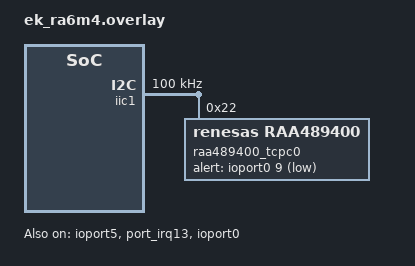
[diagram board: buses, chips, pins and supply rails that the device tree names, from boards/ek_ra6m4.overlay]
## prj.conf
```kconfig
CONFIG_USBC_STACK=y
CONFIG_USBC_TCPC_DRIVER=y
CONFIG_USBC_CSM_SINK_ONLY=y
CONFIG_USBC_THREAD_PRIORITY=10
CONFIG_ADC=y

CONFIG_LOG=y
# CONFIG_LOG_MODE_IMMEDIATE=y
# CONFIG_USBC_LOG_LEVEL_DBG=y
# CONFIG_USBC_STACK_LOG_LEVEL_DBG=y
# CONFIG_I2C_LOG_LEVEL_DBG=y
# CONFIG_LOG_MAX_LEVEL=4
# CONFIG_I2C_LOG_LEVEL_DBG=y
# CONFIG_LOG_BUFFER_SIZE=32768

CONFIG_BUILD_OUTPUT_VIF=y

CONFIG_DEBUG=y
CONFIG_DEBUG_OPTIMIZATIONS=y
# CONFIG_NO_OPTIMIZATIONS=y
CONFIG_DEBUG_THREAD_INFO=y
CONFIG_EXCEPTION_STACK_TRACE=y

CONFIG_USBC_TCPC_INIT_PRIORITY=60

CONFIG_RENESAS_RA_EXTERNAL_INTERRUPT=y
CONFIG_GPIO=y

CONFIG_MAIN_STACK_SIZE=4096
# CONFIG_SYSTEM_WORKQUEUE_STACK_SIZE=2048
CONFIG_SYSTEM_WORKQUEUE_STACK_SIZE=8192
CONFIG_ISR_STACK_SIZE=2048

CONFIG_HW_STACK_PROTECTION=y
CONFIG_THREAD_STACK_INFO=y


CONFIG_THREAD_NAME=y
# CONFIG_THREAD_ANALYZER=y
# CONFIG_THREAD_ANALYZER_AUTO=y
# CONFIG_THREAD_ANALYZER_RUN_INTERVAL_SECONDS=2
CONFIG_EXCEPTION_STACK_TRACE=n
# CONFIG_THREAD_ANALYZER_STACK_SIZE=2048
```

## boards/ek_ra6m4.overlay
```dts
/*
 * Copyright (c) 2024 Renesas Electronics Corporation
 * SPDX-License-Identifier: Apache-2.0
 *
 * Board overlay for EK-RA6M4 + RAA489400 TCPC (USB-C sink)
 *
 * Place this file at:
 *   samples/subsys/usb_c/sink/boards/ek_ra6m4.overlay
 *
 * ── VBUS measurement note ───────────────────────────────────────
 *  VBUS voltage is read over I2C from the RAA489400's own ADC
 *  (VBUS_VOLTAGE register 0x70) using the generic
 *  "zephyr,usb-c-vbus-tcpci" driver, declared as a child node of
 *  the TCPC. NO SoC ADC or resistor divider is used, so the adc0
 *  node and the P000/AN000 divider are gone.
 *
 *  IMPORTANT: the RAA489400 driver must clear POWER_CONTROL (0x1C)
 *  bit6 (VBUS_VOLTAGE Monitor) during init — it defaults to 1b
 *  (monitoring disabled), which makes VBUS_VOLTAGE read 0x0000.
 *  The updated raa489400.c does this in raa489400_init().
 *
 * ── Hardware connections on EK-RA6M4 ────────────────────────────
 *  RAA489400 pin     EK-RA6M4 pin   Notes
 *  ───────────────   ────────────   ────────────────────────────────
 *  SCL  (pin 28)     P512 (SCL1)    IIC1 SCL, open-drain + ext 4.7kΩ
 *  SDA  (pin 29)     P511 (SDA1)    IIC1 SDA, open-drain + ext 4.7kΩ
 *  ALERT# (pin 31)   P009 (IRQ13)   Active-low, ext 10kΩ to VDD33
 *                                   Arduino J23-3 (D2/INT0)
 *  VSYS33 (pin 12)   3.3V rail
 *  VCONN_POWER(30)   5V rail        Required for VCONN MUX
 *  VBUS  (pin 14)    USB-C VBUS     (sensed internally by the TCPC)
 *  VSNK_GATE (18)    N-FET gate     External sink path MOSFET
 *  VSNK_SRC  (19)    N-FET source   External sink path MOSFET
 *  PROG  (pin 10)    1.0 kΩ to GND  → I2C address 0x22 (Table 1, datasheet)
 *  GND   (pin 24)    GND
 *
 *  IIC1 (P511/P512) is exposed on the EK-RA6M4 Arduino I2C header
 *  (J24-9 SDA / J24-10 SCL), Grove 1 (J27), Qwiic (J30), and mikroBUS
 *  (J22) connectors, so it is directly accessible for wiring to the
 *  RAA489400. IIC0 (P400/P401) is committed to the on-board Ethernet
 *  PHY (MDC/MDIO) via default trace-cut jumpers E24/E25 and is not
 *  broken out for general use, which is why we move to IIC1.
 *
 * ── Key facts from ra6-cm33-common.dtsi ─────────────────────────
 *  iic0 @ 0x4009f000   compatible = "renesas,ra-iic"   (no fixed irqs)
 *  iic1 @ 0x4009f100   compatible = "renesas,ra-iic"
 *
 * ── IMPORTANT: IIC interrupt note ───────────────────────────────
 *  The RA6M4 uses a flexible interrupt matrix (ICU). IIC interrupts
 *  are NOT fixed — they are assigned at build time in the ek_ra6m4
 *  pinctrl/board DTS. Check your actual build/zephyr/zephyr.dts to
 *  confirm the interrupt numbers assigned to iic1 before programming.
 *  The values below (32–35) follow the ek_ra6m4 board DTS convention;
 *  adjust if your build assigns different IRQ numbers:
 *      grep -A6 "iic1" build/zephyr/zephyr.dts
 *
 * ── Build command ────────────────────────────────────────────────
 *  west build -p always -b ek_ra6m4 samples/subsys/usb_c/sink
 * ─────────────────────────────────────────────────────────────────
 */

#include <zephyr/dt-bindings/gpio/gpio.h>
#include <zephyr/dt-bindings/i2c/i2c.h>
#include <zephyr/dt-bindings/usb-c/pd.h>

/* ================================================================
 * 1. Pin control — IIC1 default state
 *    P512 (port 5, pin 12) = SCL    RA_PSEL_I2C function
 *    P511 (port 5, pin 11) = SDA    RA_PSEL_I2C function
 *    Both must be open-drain for I2C.
 * ================================================================ */
&pinctrl {
	iic1_default: iic1_default {
		group1 {
			psels = <RA_PSEL(RA_PSEL_I2C, 5, 12)>,  /* P512 = SCL1 */
				<RA_PSEL(RA_PSEL_I2C, 5, 11)>;   /* P511 = SDA1 */
			drive-open-drain;
		};
	};
};

/* ================================================================
 * 2. IIC1 — enable and attach RAA489400
 *
 *    From ra6-cm33-common.dtsi:
 *      iic1 @ 0x4009f100, compatible = "renesas,ra-iic", channel = <1>
 *      clocks = <&pclkb MSTPB 8>
 *
 *    Interrupt numbers are flexible on RA6M4 (ICU matrix).
 *    Verify the assignments in your build with:
 *      grep -A6 "iic1" build/zephyr/zephyr.dts
 * ================================================================ */
&iic1 {
	status = "okay";
	pinctrl-0 = <&iic1_default>;
	pinctrl-names = "default";
	/*clock-frequency = <I2C_BITRATE_FAST>;    400 kHz */
	clock-frequency = <I2C_BITRATE_STANDARD>;   /* 100 kHz */  
	#address-cells = <1>;
	#size-cells = <0>;
	interrupts = <43 1>, <44 1>, <45 1>, <46 1>;
	interrupt-names = "rxi", "txi", "tei", "eri";

	/* ── RAA489400 TCPC at I2C address 0x22 ─────────────────────
	 * PROG pin = 1.0 kΩ to GND → address 0x22 (Table 1, datasheet)
	 * ALERT# = P009 (ioport0, pin 9), active-low open-drain.
	 *   P009 is IRQ13-capable and exposed on the Arduino digital
	 *   header at J23-3 (D2/INT0). It carries no default on-board
	 *   function, so it is free for use as the TCPC ALERT# input.
	 * ─────────────────────────────────────────────────────────── */
	raa489400_tcpc0: raa489400@22 {
		compatible = "renesas,raa489400";
		reg = <0x22>;
		alert-gpios = <&ioport0 9 (GPIO_ACTIVE_LOW | GPIO_PULL_UP)>;

		/*
		 * VBUS overcurrent threshold = 3.6 A (reset value from
		 * RAA489400 VBUS_FAULT_CTRL register bits[1:0] = 01b).
		 */
		vbus-oc-threshold = <1>;

		status = "okay";

		/* ── VBUS voltage measurement over I2C ───────────────
		 * The generic TCPCI VBUS driver reads VBUS_VOLTAGE
		 * (0x70) from the parent TCPC. It takes the I2C address
		 * from this node's parent (raa489400@22). No SoC ADC.
		 *
		 * NOTE: raa489400_init() must clear POWER_CONTROL bit6
		 * (VBUS_VOLTAGE Monitor) or this register reads 0.
		 * ──────────────────────────────────────────────────── */
		vbus0: vbus {
			compatible = "zephyr,usb-c-vbus-tcpci";
			status = "okay";
		};
	};
};

/* ================================================================
 * 3. Enable GPIO ports
 * ================================================================ */
/* Port 5 — for IIC1 pins P511/P512 */
&ioport5 {
	status = "okay";
};

&port_irq13 {
	interrupts = <90 12>;
	status = "okay";
};

&ioport0 {
	status = "okay";
	/* no irqs property — routing is via pinctrl above */
};


/* ================================================================
 * 4. Root node — aliases and USB-C port
 * ================================================================ */
/ {
	aliases {
		usbc-port0 = &port0;
	};

	/* ── USB-C port (sink only) ──────────────────────────────────
	 * PDOs: 5V/3A, 9V/3A, 15V/3A, 20V/3A
	 * RAA489400 supports EPR up to 48V/240W — add EPR PDOs if needed.
	 *
	 * VBUS stays under 25.6V for all SPR PDOs, so the TCPC's
	 * VBUS_VOLTAGE scale factor is always 00b (raw × 25 mV). If you
	 * add EPR PDOs above 25.6V, verify the TCPCI VBUS driver reads
	 * the scale-factor field (bits 11:10 of reg 0x70).
	 * ─────────────────────────────────────────────────────────── */
	ports {
		#address-cells = <1>;
		#size-cells    = <0>;

		port0: usbc-port@0 {
			compatible = "usb-c-connector";
			reg        = <0>;
			tcpc       = <&raa489400_tcpc0>;
			vbus       = <&vbus0>;
			power-role = "sink";
			sink-pdos  = <PDO_FIXED(5000,  3000, 0)
				      PDO_FIXED(9000,  3000, 0)
				      PDO_FIXED(15000, 3000, 0)
				      PDO_FIXED(20000, 3000, 0)>;
		};
	};
};
```

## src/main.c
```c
/*
 * Copyright (c) 2022 The Chromium OS Authors.
 *
 * SPDX-License-Identifier: Apache-2.0
 */

#include <zephyr/kernel.h>
#include <zephyr/device.h>
#include <zephyr/devicetree.h>
#include <zephyr/usb_c/usbc.h>

#include <zephyr/logging/log.h>

#include <zephyr/drivers/usb_c/usbc_tcpc.h>

#include <zephyr/drivers/usb_c/tcpci_priv.h>
#include <zephyr/drivers/i2c.h>
#define ROLE_CONTROL_REG 0x1A

LOG_MODULE_REGISTER(main, LOG_LEVEL_DBG);

#define USBC_PORT0_NODE DT_ALIAS(usbc_port0)

BUILD_ASSERT(DT_ENUM_IDX(USBC_PORT0_NODE, power_role) == TC_ROLE_CAP_SINK,
	     "Unsupported board: Only Sink device supported");

/* usbc.rst port data object start */
/**
 * @brief A structure that encapsulates Port data.
 */
static struct port0_data_t {
	/** Sink Capabilities */
	uint32_t snk_caps[DT_PROP_LEN(USBC_PORT0_NODE, sink_pdos)];
	/** Number of Sink Capabilities */
	int snk_cap_cnt;
	/** Source Capabilities */
	uint32_t src_caps[PDO_MAX_DATA_OBJECTS];
	/** Number of Source Capabilities */
	int src_cap_cnt;
	/* Power Supply Ready flag */
	atomic_t ps_ready;
} port0_data = {.snk_caps = DT_PROP(USBC_PORT0_NODE, sink_pdos),
		.snk_cap_cnt = DT_PROP_LEN(USBC_PORT0_NODE, sink_pdos),
		.src_caps = {0},
		.src_cap_cnt = 0,
		.ps_ready = 0};

/* usbc.rst port data object end */

/**
 * @brief Builds a Request Data Object (RDO) with the following properties:
 *		- Maximum operating current 100mA
 *		- Operating current is 100mA
 *		- Unchunked Extended Messages Not Supported
 *		- No USB Suspend
 *		- Not USB Communications Capable
 *		- No capability mismatch
 *		- Does not Giveback
 *		- Select object position 1 (5V Power Data Object (PDO))
 *
 * @note Generally a sink application would build an RDO from the
 *	 Source Capabilities stored in the dpm_data object
 */
static uint32_t build_rdo(const struct port0_data_t *dpm_data)
{
	union pd_rdo rdo;

	/* Maximum operating current 100mA (GIVEBACK = 0) */
	rdo.fixed.min_or_max_operating_current = PD_CONVERT_MA_TO_FIXED_PDO_CURRENT(100);
	/* Operating current 100mA */
	rdo.fixed.operating_current = PD_CONVERT_MA_TO_FIXED_PDO_CURRENT(100);
	/* Unchunked Extended Messages Not Supported */
	rdo.fixed.unchunked_ext_msg_supported = 0;
	/* No USB Suspend */
	rdo.fixed.no_usb_suspend = 1;
	/* Not USB Communications Capable */
	rdo.fixed.usb_comm_capable = 0;
	/* No capability mismatch */
	rdo.fixed.cap_mismatch = 0;
	/* Don't giveback */
	rdo.fixed.giveback = 0;
	/* Object position 1 (5V PDO) */
	rdo.fixed.object_pos = 1;

	return rdo.raw_value;
}

static void display_pdo(const int idx, const uint32_t pdo_value)
{
	union pd_fixed_supply_pdo_source pdo;

	/* Default to fixed supply pdo source until type is detected */
	pdo.raw_value = pdo_value;

	LOG_INF("PDO %d:", idx);
	switch (pdo.type) {
	case PDO_FIXED: {
		LOG_INF("\tType:              FIXED");
		LOG_INF("\tCurrent:           %d",
			PD_CONVERT_FIXED_PDO_CURRENT_TO_MA(pdo.max_current));
		LOG_INF("\tVoltage:           %d", PD_CONVERT_FIXED_PDO_VOLTAGE_TO_MV(pdo.voltage));
		LOG_INF("\tPeak Current:      %d", pdo.peak_current);
		LOG_INF("\tUchunked Support:  %d", pdo.unchunked_ext_msg_supported);
		LOG_INF("\tDual Role Data:    %d", pdo.dual_role_data);
		LOG_INF("\tUSB Comms:         %d", pdo.usb_comms_capable);
		LOG_INF("\tUnconstrained Pwr: %d", pdo.unconstrained_power);
		LOG_INF("\tUSB Suspend:       %d", pdo.usb_suspend_supported);
		LOG_INF("\tDual Role Power:   %d", pdo.dual_role_power);
	} break;
	case PDO_BATTERY: {
		union pd_battery_supply_pdo_source batt_pdo;

		batt_pdo.raw_value = pdo_value;
		LOG_INF("\tType:              BATTERY");
		LOG_INF("\tMin Voltage: %d",
			PD_CONVERT_BATTERY_PDO_VOLTAGE_TO_MV(batt_pdo.min_voltage));
		LOG_INF("\tMax Voltage: %d",
			PD_CONVERT_BATTERY_PDO_VOLTAGE_TO_MV(batt_pdo.max_voltage));
		LOG_INF("\tMax Power:   %d",
			PD_CONVERT_BATTERY_PDO_POWER_TO_MW(batt_pdo.max_power));
	} break;
	case PDO_VARIABLE: {
		union pd_variable_supply_pdo_source var_pdo;

		var_pdo.raw_value = pdo_value;
		LOG_INF("\tType:        VARIABLE");
		LOG_INF("\tMin Voltage: %d",
			PD_CONVERT_VARIABLE_PDO_VOLTAGE_TO_MV(var_pdo.min_voltage));
		LOG_INF("\tMax Voltage: %d",
			PD_CONVERT_VARIABLE_PDO_VOLTAGE_TO_MV(var_pdo.max_voltage));
		LOG_INF("\tMax Current: %d",
			PD_CONVERT_VARIABLE_PDO_CURRENT_TO_MA(var_pdo.max_current));
	} break;
	case PDO_AUGMENTED: {
		union pd_augmented_supply_pdo_source aug_pdo;

		aug_pdo.raw_value = pdo_value;
		LOG_INF("\tType:              AUGMENTED");
		LOG_INF("\tMin Voltage:       %d",
			PD_CONVERT_AUGMENTED_PDO_VOLTAGE_TO_MV(aug_pdo.min_voltage));
		LOG_INF("\tMax Voltage:       %d",
			PD_CONVERT_AUGMENTED_PDO_VOLTAGE_TO_MV(aug_pdo.max_voltage));
		LOG_INF("\tMax Current:       %d",
			PD_CONVERT_AUGMENTED_PDO_CURRENT_TO_MA(aug_pdo.max_current));
		LOG_INF("\tPPS Power Limited: %d", aug_pdo.pps_power_limited);
	} break;
	}
}

static void display_source_caps(const struct device *dev)
{
	struct port0_data_t *dpm_data = usbc_get_dpm_data(dev);

	LOG_INF("Source Caps:");
	for (int i = 0; i < dpm_data->src_cap_cnt; i++) {
		display_pdo(i, dpm_data->src_caps[i]);
		k_msleep(50);
	}
}

/* usbc.rst callbacks start */
static int port0_policy_cb_get_snk_cap(const struct device *dev, uint32_t **pdos, int *num_pdos)
{
	struct port0_data_t *dpm_data = usbc_get_dpm_data(dev);

	*pdos = dpm_data->snk_caps;
	*num_pdos = dpm_data->snk_cap_cnt;

	return 0;
}

static void port0_policy_cb_set_src_cap(const struct device *dev, const uint32_t *pdos,
					const int num_pdos)
{
	struct port0_data_t *dpm_data;
	int num;
	int i;
 	LOG_INF("set_src_cap called, num_pdos=%d", num_pdos);
	dpm_data = usbc_get_dpm_data(dev);

	num = num_pdos;
	if (num > PDO_MAX_DATA_OBJECTS) {
		num = PDO_MAX_DATA_OBJECTS;
	}

	for (i = 0; i < num; i++) {
		dpm_data->src_caps[i] = *(pdos + i);
		LOG_INF("Source PDO[%d] = 0x%08x", i, pdos[i]);
	}

	dpm_data->src_cap_cnt = num;
}

static uint32_t port0_policy_cb_get_rdo(const struct device *dev)
{
	struct port0_data_t *dpm_data = usbc_get_dpm_data(dev);
	// return build_rdo(dpm_data);
	uint32_t rdo = build_rdo(dpm_data);

    LOG_INF("get_rdo called, RDO=0x%08x", rdo);
    return rdo;
}
/* usbc.rst callbacks end */

/* usbc.rst notify start */
static void port0_notify(const struct device *dev, const enum usbc_policy_notify_t policy_notify)
{
	struct port0_data_t *dpm_data = usbc_get_dpm_data(dev);

	switch (policy_notify) {
	case PROTOCOL_ERROR:
    	LOG_ERR("PROTOCOL_ERROR");	
		break;
	case MSG_DISCARDED:
		LOG_WRN("MSG_DISCARDED");
		break;
	case MSG_ACCEPT_RECEIVED:
		break;
	case MSG_REJECTED_RECEIVED:
		break;
	case MSG_NOT_SUPPORTED_RECEIVED:
		break;
	case TRANSITION_PS:
		atomic_set_bit(&dpm_data->ps_ready, 0);
		break;
	case PD_CONNECTED:
		break;
	case NOT_PD_CONNECTED:
		break;
	case POWER_CHANGE_0A0:
		LOG_INF("PWR 0A");
		break;
	case POWER_CHANGE_DEF:
		LOG_INF("PWR DEF");
		break;
	case POWER_CHANGE_1A5:
		LOG_INF("PWR 1A5");
		break;
	case POWER_CHANGE_3A0:
		LOG_INF("PWR 3A0");
		break;
	case DATA_ROLE_IS_UFP:
		break;
	case DATA_ROLE_IS_DFP:
		break;
	case PORT_PARTNER_NOT_RESPONSIVE:
		LOG_INF("Port Partner not PD Capable");
		break;
	case SNK_TRANSITION_TO_DEFAULT:
		break;
	case HARD_RESET_RECEIVED:
		LOG_WRN("HARD_RESET_RECEIVED");
		break;
	case SENDER_RESPONSE_TIMEOUT:
	    LOG_WRN("SENDER_RESPONSE_TIMEOUT");
		break;
	case SOURCE_CAPABILITIES_RECEIVED:
	    LOG_INF("SOURCE_CAPABILITIES_RECEIVED");
		break;
	default:
	}
}
/* usbc.rst notify end */

/* usbc.rst check start */
bool port0_policy_check(const struct device *dev, const enum usbc_policy_check_t policy_check)
{
	switch (policy_check) {
	case CHECK_POWER_ROLE_SWAP:
		/* Reject power role swaps */
		return false;
	case CHECK_DATA_ROLE_SWAP_TO_DFP:
		/* Reject data role swap to DFP */
		return false;
	case CHECK_DATA_ROLE_SWAP_TO_UFP:
		/* Accept data role swap to UFP */
		return true;
	case CHECK_SNK_AT_DEFAULT_LEVEL:
		/* This device is always at the default power level */
		return true;
	default:
		/* Reject all other policy checks */
		return false;
	}
}
/* usbc.rst check end */

int main(void)
{
	const struct device *usbc_port0;

	// /* --- temporary I2C bus readiness check --- */
	// const struct device *i2c = DEVICE_DT_GET(DT_NODELABEL(iic1));
	// LOG_INF("iic1 ready: %d", device_is_ready(i2c));

	// const struct device *tcpc = DEVICE_DT_GET(DT_NODELABEL(raa489400_tcpc0));
	// LOG_INF("tcpc ready: %d", device_is_ready(tcpc));

	// struct tcpc_chip_info info;
	// int r = tcpc_get_chip_info(tcpc, &info);
	// LOG_INF("chip_info ret=%d vendor=0x%04x product=0x%04x",
	// 	r, info.vendor_id, info.product_id);

	/* ----------------------------------------- */
	/* Get the device for this port */
	usbc_port0 = DEVICE_DT_GET(USBC_PORT0_NODE);
	if (!device_is_ready(usbc_port0)) {
		LOG_ERR("PORT0 device not ready");
		return 0;
	}

	/* usbc.rst register start */
	/* Register USB-C Callbacks */

	/* Register Policy Check callback */
	usbc_set_policy_cb_check(usbc_port0, port0_policy_check);
	/* Register Policy Notify callback */
	usbc_set_policy_cb_notify(usbc_port0, port0_notify);
	/* Register Policy Get Sink Capabilities callback */
	usbc_set_policy_cb_get_snk_cap(usbc_port0, port0_policy_cb_get_snk_cap);
	/* Register Policy Set Source Capabilities callback */
	usbc_set_policy_cb_set_src_cap(usbc_port0, port0_policy_cb_set_src_cap);
	/* Register Policy Get Request Data Object callback */
	usbc_set_policy_cb_get_rdo(usbc_port0, port0_policy_cb_get_rdo);
	/* usbc.rst register end */

	/* usbc.rst user data start */
	/* Set Application port data object. This object is passed to the policy callbacks */
	port0_data.ps_ready = ATOMIC_INIT(0);
	usbc_set_dpm_data(usbc_port0, &port0_data);
	/* usbc.rst user data end */

	/* usbc.rst usbc start */
	/* Start the USB-C Subsystem */
	usbc_start(usbc_port0);
	/* usbc.rst usbc end */

	uint8_t role;
	int ret;
	static const struct i2c_dt_spec tcpc_i2c =  I2C_DT_SPEC_GET(DT_NODELABEL(raa489400_tcpc0));

	if (!i2c_is_ready_dt(&tcpc_i2c)) {
		LOG_ERR("TCPC I2C bus is not ready");
		return 0;
	}

	// ret = i2c_reg_read_byte_dt(&tcpc_i2c, ROLE_CONTROL_REG, &role);
	// LOG_INF("ROLE_CONTROL initial: ret=%d value=0x%02x", ret, role);

	// ret = i2c_reg_write_byte_dt(&tcpc_i2c, ROLE_CONTROL_REG, 0x0A);
	// LOG_INF("ROLE_CONTROL write Rd/Rd 0x0A: ret=%d", ret);

	// k_msleep(20);

	// ret = i2c_reg_read_byte_dt(&tcpc_i2c, ROLE_CONTROL_REG, &role);
	// LOG_INF("ROLE_CONTROL after 0x0A: ret=%d value=0x%02x",
	// 	role, role);

	// ret = i2c_reg_write_byte_dt(&tcpc_i2c, ROLE_CONTROL_REG, 0x0F);
	// LOG_INF("ROLE_CONTROL write Open/Open 0x0F: ret=%d", ret);

	// // k_msleep(1);

	// ret = i2c_reg_read_byte_dt(&tcpc_i2c, ROLE_CONTROL_REG, &role);
	// LOG_INF("ROLE_CONTROL after 0x0F: ret=%d value=0x%02x", ret, role);

	while (1) {
		/* Perform Application Specific functions */
		if (atomic_test_and_clear_bit(&port0_data.ps_ready, 0)) {
			/* Display the Source Capabilities */
			display_source_caps(usbc_port0);
		} 

		// r = tcpc_get_chip_info(tcpc, &info);
	    // LOG_INF("chip_info ret=%d vendor=0x%04x product=0x%04x",
		// r, info.vendor_id, info.product_id);


		/* Arbitrary delay */
		k_msleep(1000);
	}
	return 0;
}
```
